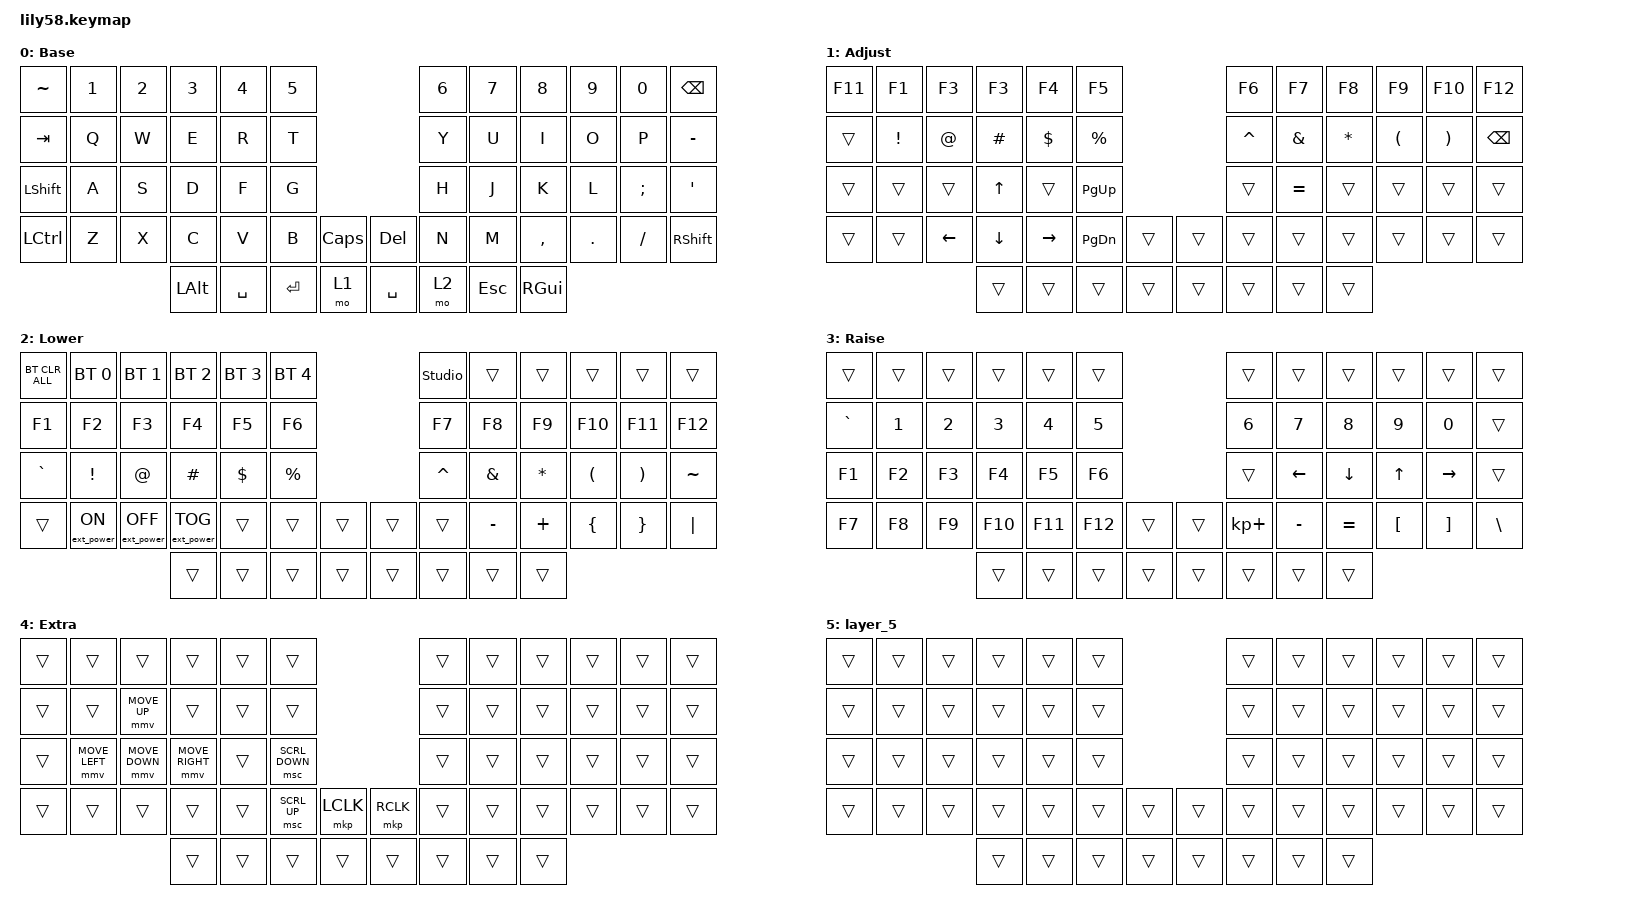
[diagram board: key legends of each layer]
/*
 * Copyright (c) 2020 The ZMK Contributors
 *
 * SPDX-License-Identifier: MIT
 */

#include <behaviors.dtsi>
#include <dt-bindings/zmk/bt.h>
#include <dt-bindings/zmk/ext_power.h>
#include <dt-bindings/zmk/keys.h>
#include <dt-bindings/zmk/pointing.h>

#define default_layer 0
#define lower_layer 1
#define raise_layer 2
#define adjust_layer 3
#define extra_layer 4

/ {
    combos { compatible = "zmk,combos"; };

    keymap {
        compatible = "zmk,keymap";

        default_layer {
            display-name = "Base";

            // ------------------------------------------------------------------------------------------------------------
            // |  ESC  |  1  |  2  |  3   |  4   |  5   |                   |  6   |  7    |  8    |  9   |   0   |   `   |
            // |  TAB  |  Q  |  W  |  E   |  R   |  T   |                   |  Y   |  U    |  I    |  O   |   P   |   -   |
            // |  CTRL |  A  |  S  |  D   |  F   |  G   |                   |  H   |  J    |  K    |  L   |   ;   |   '   |
            // | SHIFT |  Z  |  X  |  C   |  V   |  B   |   "["  |  |  "]"  |  N   |  M    |  ,    |  .   |   /   | SHIFT |
            //                     | ALT  | GUI  | LOWER|  SPACE |  | ENTER | RAISE| BSPC  | GUI   |

            bindings = <
&kp TILDE         &kp N1  &kp N2  &kp N3    &kp N4     &kp N5                                 &kp N6  &kp N7      &kp N8     &kp N9   &kp N0    &kp BACKSPACE
&kp TAB           &kp Q   &kp W   &kp E     &kp R      &kp T                                  &kp Y   &kp U       &kp I      &kp O    &kp P     &kp MINUS
&kp LEFT_SHIFT    &kp A   &kp S   &kp D     &kp F      &kp G                                  &kp H   &kp J       &kp K      &kp L    &kp SEMI  &kp SQT
&kp LEFT_CONTROL  &kp Z   &kp X   &kp C     &kp V      &kp B      &kp CAPSLOCK    &kp DELETE  &kp N   &kp M       &kp COMMA  &kp DOT  &kp FSLH  &kp RSHFT
                                  &kp LALT  &kp SPACE  &kp ENTER  &mo 1           &kp SPACE   &mo 2   &kp ESCAPE  &kp RGUI
            >;
        };

        adjust_layer {
            display-name = "Adjust";

            // ------------------------------------------------------------------------------------------------------------
            // |       |     |     |      |      |      |                   |      |       |       |      |       |       |
            // |   `   |  1  |  2  |  3   |  4   |  5   |                   |  6   |   7   |   8   |  9   |   0   |       |
            // |   F1  |  F2 |  F3 |  F4  |  F5  |  F6  |                   |      |   <-  |   v   |  ^   |  ->   |       |
            // |   F7  |  F8 |  F9 |  F10 |  F11 |  F12 |        |  |       |  +   |   -   |   =   |  [   |   ]   |   \   |
            //                     |      |      |      |        |  |       |      |       |       |

            bindings = <
&kp F11  &kp F1    &kp F3          &kp F3          &kp F4           &kp F5                           &kp F6     &kp F7         &kp F8        &kp F9                &kp F10                &kp F12
&trans   &kp EXCL  &kp AT          &kp HASH        &kp DOLLAR       &kp PERCENT                      &kp CARET  &kp AMPERSAND  &kp ASTERISK  &kp LEFT_PARENTHESIS  &kp RIGHT_PARENTHESIS  &kp BACKSPACE
&trans   &trans    &trans          &kp UP_ARROW    &trans           &kp PAGE_UP                      &trans     &kp EQUAL      &trans        &trans                &trans                 &trans
&trans   &trans    &kp LEFT_ARROW  &kp DOWN_ARROW  &kp RIGHT_ARROW  &kp PAGE_DOWN  &trans    &trans  &trans     &trans         &trans        &trans                &trans                 &trans
                                   &trans          &trans           &trans         &trans    &trans  &trans     &trans         &trans
            >;
        };

        lower_layer {
            display-name = "Lower";

            // ------------------------------------------------------------------------------------------------------------
            // | BTCLR | BT1 | BT2 |  BT3 |  BT4 |  BT5 |                   |      |       |       |      |       |       |
            // |  F1   |  F2 |  F3 |  F4  |  F5  |  F6  |                   |  F7  |  F8   |  F9   |  F10 |  F11  |  F12  |
            // |   `   |  !  |  @  |  #   |  $   |  %   |                   |  ^   |  &    |  *    |  (   |   )   |   ~   |
            // |       |     |     |      |      |      |        |  |       |      |  _    |  +    |  {   |   }   |  "|"  |
            //                     |      |      |      |        |  |       |      |       |       |

            bindings = <
&bt BT_CLR_ALL  &bt BT_SEL 0      &bt BT_SEL 1       &bt BT_SEL 2       &bt BT_SEL 3  &bt BT_SEL 4                    &studio_unlock  &trans     &trans     &trans    &trans    &trans
&kp F1          &kp F2            &kp F3             &kp F4             &kp F5        &kp F6                          &kp F7          &kp F8     &kp F9     &kp F10   &kp F11   &kp F12
&kp GRAVE       &kp EXCL          &kp AT             &kp HASH           &kp DOLLAR    &kp PRCNT                       &kp CARET       &kp AMPS   &kp ASTRK  &kp LPAR  &kp RPAR  &kp TILDE
&trans          &ext_power EP_ON  &ext_power EP_OFF  &ext_power EP_TOG  &trans        &trans        &trans    &trans  &trans          &kp MINUS  &kp PLUS   &kp LBRC  &kp RBRC  &kp PIPE
                                                     &trans             &trans        &trans        &trans    &trans  &trans          &trans     &trans
            >;
        };

        raise_layer {
            display-name = "Raise";

            // ------------------------------------------------------------------------------------------------------------
            // |       |     |     |      |      |      |                   |      |       |       |      |       |       |
            // |   `   |  1  |  2  |  3   |  4   |  5   |                   |  6   |   7   |   8   |  9   |   0   |       |
            // |   F1  |  F2 |  F3 |  F4  |  F5  |  F6  |                   |      |   <-  |   v   |  ^   |  ->   |       |
            // |   F7  |  F8 |  F9 |  F10 |  F11 |  F12 |        |  |       |  +   |   -   |   =   |  [   |   ]   |   \   |
            //                     |      |      |      |        |  |       |      |       |       |

            bindings = <
&trans     &trans  &trans  &trans   &trans   &trans                     &trans       &trans     &trans     &trans    &trans     &trans
&kp GRAVE  &kp N1  &kp N2  &kp N3   &kp N4   &kp N5                     &kp N6       &kp N7     &kp N8     &kp N9    &kp N0     &trans
&kp F1     &kp F2  &kp F3  &kp F4   &kp F5   &kp F6                     &trans       &kp LEFT   &kp DOWN   &kp UP    &kp RIGHT  &trans
&kp F7     &kp F8  &kp F9  &kp F10  &kp F11  &kp F12  &trans    &trans  &kp KP_PLUS  &kp MINUS  &kp EQUAL  &kp LBKT  &kp RBKT   &kp BSLH
                           &trans   &trans   &trans   &trans    &trans  &trans       &trans     &trans
            >;
        };

        extra_layer {
            display-name = "Extra";

            // ------------------------------------------------------------------------------------------------------------
            // |       |     |     |      |      |      |                   |      |       |       |      |       |       |
            // |   `   |  1  |  2  |  3   |  4   |  5   |                   |  6   |   7   |   8   |  9   |   0   |       |
            // |   F1  |  F2 |  F3 |  F4  |  F5  |  F6  |                   |      |   <-  |   v   |  ^   |  ->   |       |
            // |   F7  |  F8 |  F9 |  F10 |  F11 |  F12 |        |  |       |  +   |   -   |   =   |  [   |   ]   |   \   |
            //                     |      |      |      |        |  |       |      |       |       |

            bindings = <
&trans  &trans          &trans          &trans           &trans  &trans                                  &trans  &trans  &trans  &trans  &trans  &trans
&trans  &trans          &mmv MOVE_UP    &trans           &trans  &trans                                  &trans  &trans  &trans  &trans  &trans  &trans
&trans  &mmv MOVE_LEFT  &mmv MOVE_DOWN  &mmv MOVE_RIGHT  &trans  &msc SCRL_DOWN                          &trans  &trans  &trans  &trans  &trans  &trans
&trans  &trans          &trans          &trans           &trans  &msc SCRL_UP    &mkp LCLK    &mkp RCLK  &trans  &trans  &trans  &trans  &trans  &trans
                                        &trans           &trans  &trans          &trans       &trans     &trans  &trans  &trans
            >;
        };

        layer_5 {
            bindings = <
&trans  &trans  &trans  &trans  &trans  &trans                    &trans  &trans  &trans  &trans  &trans  &trans
&trans  &trans  &trans  &trans  &trans  &trans                    &trans  &trans  &trans  &trans  &trans  &trans
&trans  &trans  &trans  &trans  &trans  &trans                    &trans  &trans  &trans  &trans  &trans  &trans
&trans  &trans  &trans  &trans  &trans  &trans  &trans    &trans  &trans  &trans  &trans  &trans  &trans  &trans
                        &trans  &trans  &trans  &trans    &trans  &trans  &trans  &trans
            >;
        };
    };
};
